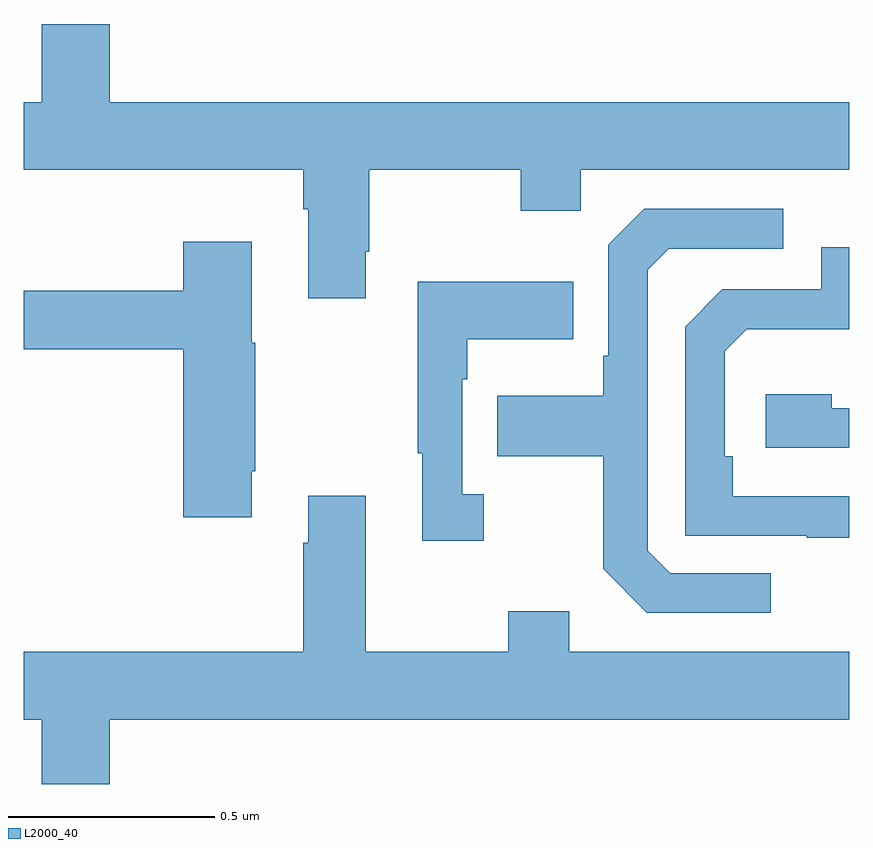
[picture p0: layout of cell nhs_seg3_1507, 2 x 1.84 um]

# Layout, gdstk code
import gdstk
lib = gdstk.Library(unit=1e-6, precision=1e-09)
def P(c, l, *ps):  # polygons
    for p in ps: c.add(gdstk.Polygon(p, *l))
L2000_40 = (2000, 40)

nhs_seg3_1507 = lib.new_cell('nhs_seg3_1507')
P(nhs_seg3_1507, L2000_40, [(129.829,728.689),(129.837,728.689),(129.837,728.888),(130.204,728.888),(130.204,728.789),(130.35,728.789),(130.35,728.888),(131,728.888),(131,729.052),(129.208,729.052),(129.208,729.241),(129.044,729.241),(129.044,729.052),(129,729.052),(129,728.888),(129.677,728.888),(129.677,728.792),(129.689,728.792),(129.689,728.577),(129.829,728.577)],
  [(130.81,727.911),(130.566,727.911),(130.512,727.965),(130.512,728.646),(130.563,728.697),(130.84,728.697),(130.84,728.793),(130.503,728.793),(130.416,728.706),(130.416,728.437),(130.404,728.437),(130.404,728.341),(130.147,728.341),(130.147,728.194),(130.404,728.194),(130.404,727.921),(130.509,727.815),(130.81,727.815)],
  [(129.553,728.158),(129.561,728.158),(129.561,728.469),(129.553,728.469),(129.553,728.713),(129.386,728.713),(129.386,728.595),(129,728.595),(129,728.453),(129.386,728.453),(129.386,728.046),(129.553,728.046)],
  [(131,728.097),(130.718,728.097),(130.718,728.194),(130.698,728.194),(130.698,728.448),(130.751,728.501),(131,728.501),(131,728.7),(130.932,728.7),(130.932,728.598),(130.692,728.598),(130.602,728.508),(130.602,728.001),(130.897,728.001),(130.897,727.996),(131,727.996)],
  [(130.114,728.102),(130.062,728.102),(130.062,728.381),(130.075,728.381),(130.075,728.477),(130.331,728.477),(130.331,728.617),(129.954,728.617),(129.954,728.201),(129.965,728.201),(129.965,727.989),(130.114,727.989)],
  [(131,728.31),(130.958,728.31),(130.958,728.344),(130.797,728.344),(130.797,728.214),(131,728.214)],
  [(129.208,727.556),(131,727.556),(131,727.72),(130.321,727.72),(130.321,727.819),(130.174,727.819),(130.174,727.72),(129.829,727.72),(129.829,728.098),(129.689,728.098),(129.689,727.985),(129.677,727.985),(129.677,727.72),(129,727.72),(129,727.556),(129.044,727.556),(129.044,727.4),(129.208,727.4)])

lib.write_gds('nhs_seg3_1507.gds')
